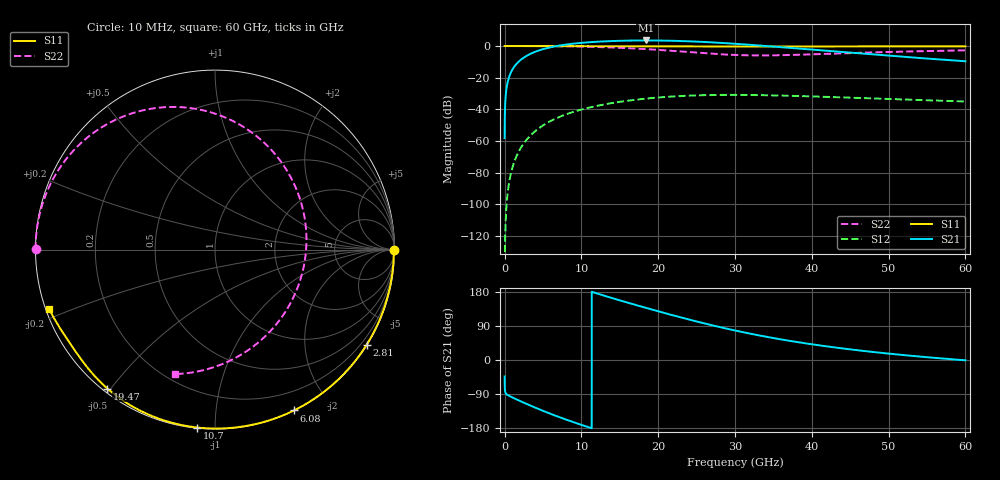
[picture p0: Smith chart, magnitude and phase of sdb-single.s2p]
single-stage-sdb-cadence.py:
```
from skrf import Network
import matplotlib.pyplot as plt
import tikzplotlib
tikzplotlib.Flavors.context.preamble()
single_stage = Network('data/sdb-single.s2p')
single_stage.frequency.unit = 'ghz'
fig, ax = plt.subplots(figsize=(8, 6))
single_stage.plot_s_db(1, 1, linewidth=2, color="red", label="S22")
ax.grid(True)
#ax.set_ylim(-30, 5)
#ax.set_ylim(-120, -25) for s12
ax.tick_params(axis='both', labelsize=12)
ax.set_xlabel("Frequency (GHz)", fontsize=15)
ax.set_ylabel("Magnitude (dB)", fontsize=15)
#plt.legend().remove()
#tikzplotlib.clean_figure()
#tikzplotlib.save("single_stage_sdb_cadence_s11.tex")
#plt.savefig('single_stage_s22.png', dpi=300)
plt.show()
```
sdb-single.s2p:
! Touchstone Ver. 1.0
! Fri May  5 20:23:08 2023
! Number of ports is 2
# Hz	S	DB	R	50.000000
! SCATTERING PARAMETERS  :
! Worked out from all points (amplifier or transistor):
!   6000 points, 10 MHz to 60 GHz, reference 50 ohm
!   highest |S21| = 3.5 dB at 18.38 GHz (marker M1)
!   |S21| within 3 dB of that: 7.442 GHz to 32.67 GHz (25.23 GHz wide, 126 % of centre)
!   unconditionally stable (mu >= 1): start of sweep to 51.26 MHz; 24.31 GHz to end of sweep
!   at 10.01 GHz: K = 0.43, MSG = 21.1 dB, |S12| = -40.2 dB
!   at 30.01 GHz: K = 1.21, MAG = 13.4 dB, |S12| = -30.9 dB
!   at 60 GHz: K = 2.09, MAG = 6.8 dB, |S12| = -35.1 dB
!   S11 on the Smith chart (normalised r, x): 10 MHz: open; 2.81 GHz: 0.02, -3.48; 6.08 GHz: 0.00, -1.60; 10.7 GHz: 0.00, -0.91; 19.47 GHz: 0.01, -0.49; 60 GHz: 0.01, -0.17
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1e7  -0.01 -0.2  -58.21 -43.5  -162.80 -120.0  -0.00 180.0
3.4e8  -0.03 -4.0  -24.44 -91.4  -96.00 179.8  -0.00 178.8
6.7e8  -0.03 -7.8  -18.56 -95.3  -84.23 175.7  -0.00 177.7
2.81e9  -0.02 -32.1  -6.41 -115.3  -59.62 157.0  -0.02 170.1
6.08e9  -0.02 -63.9  -0.72 -142.7  -47.22 132.1  -0.12 158.1
1.07e10  -0.03 -95.7  2.26 -175.8  -39.30 102.7  -0.47 139.2
1.838e10  -0.16 -125.0  3.50 137.7  -33.27 62.0  -1.95 99.5
1.947e10  -0.18 -127.7  3.48 131.5  -32.77 56.6  -2.28 92.7
3.001e10  -0.34 -144.1  1.41 77.9  -30.89 10.8  -5.67 13.3
3.938e10  -0.30 -151.4  -2.06 43.4  -31.77 -17.1  -5.37 -50.8
6e10  -0.17 -160.4  -9.64 -0.8  -35.07 -48.1  -2.76 -107.7
